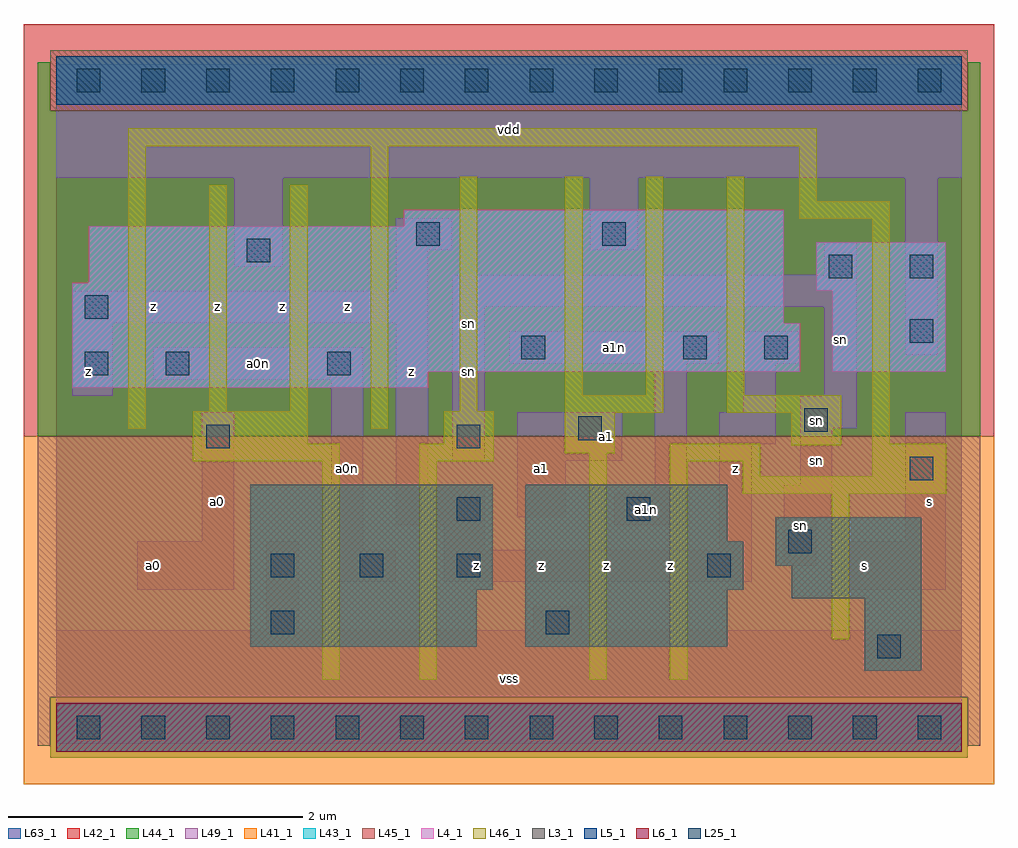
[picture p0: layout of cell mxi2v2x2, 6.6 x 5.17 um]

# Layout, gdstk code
import gdstk
lib = gdstk.Library(unit=1e-6, precision=1e-09)
def R(c, l, rs):  # rectangles x0, y0, x1, y1
    for r in rs: c.add(gdstk.rectangle(r[:2], r[2:], *l))
def A(c, l, x, y, w, h, nx, ny, dx, dy):  # array of equal rectangles
    R(c, l, [(x+i*dx, y+j*dy, x+i*dx+w, y+j*dy+h) for i in range(nx) for j in range(ny)])
L3_1 = (3, 1)
L4_1 = (4, 1)
L5_1 = (5, 1)
L6_1 = (6, 1)
L25_1 = (25, 1)
L41_1 = (41, 1)
L42_1 = (42, 1)
L43_1 = (43, 1)
L44_1 = (44, 1)
L45_1 = (45, 1)
L46_1 = (46, 1)
L49_1 = (49, 1)
L63_1 = (63, 1)

mxi2v2x2 = lib.new_cell('mxi2v2x2')
R(mxi2v2x2, L3_1, [(5.5,0.385,5.885,0.88), (1.32,0.55,2.86,0.935), (3.19,0.55,4.565,0.935), (5.005,0.88,5.885,1.1), (1.32,0.935,2.97,1.65), (3.19,0.935,4.675,1.265), (4.895,1.1,5.885,1.43), (3.19,1.265,4.565,1.65)])
R(mxi2v2x2, L4_1, [(0.11,2.31,2.53,2.42), (0.11,2.42,5.06,2.75), (5.28,2.42,6.05,2.97), (0.11,2.75,4.95,3.025), (5.17,2.97,6.05,3.3), (0.22,3.025,4.95,3.41), (2.365,3.41,4.95,3.52)])
R(mxi2v2x2, L5_1, [(0,4.235,6.16,4.565)])
R(mxi2v2x2, L6_1, [(0,-0.165,6.16,0.165)])
A(mxi2v2x2, L25_1, 0.14, -0.08, 0.16, 0.16, 14, 2, 0.44, 4.4)
R(mxi2v2x2, L25_1, [(5.585,0.47,5.745,0.63), (1.46,0.635,1.62,0.795), (3.33,0.635,3.49,0.795), (1.46,1.02,1.62,1.18), (2.065,1.02,2.225,1.18), (2.725,1.02,2.885,1.18), (4.43,1.02,4.59,1.18), (4.98,1.185,5.14,1.345), (2.725,1.405,2.885,1.565), (3.88,1.405,4.04,1.565), (5.805,1.68,5.965,1.84), (1.02,1.9,1.18,2.06), (2.725,1.9,2.885,2.06), (3.55,1.955,3.71,2.115), (5.09,2.01,5.25,2.17), (0.195,2.395,0.355,2.555), (0.745,2.395,0.905,2.555), (1.845,2.395,2.005,2.555), (3.165,2.505,3.325,2.665), (4.265,2.505,4.425,2.665), (4.815,2.505,4.975,2.665), (5.805,2.615,5.965,2.775), (0.195,2.78,0.355,2.94), (5.255,3.055,5.415,3.215), (5.805,3.055,5.965,3.215), (1.295,3.165,1.455,3.325), (2.45,3.275,2.61,3.435), (3.715,3.275,3.875,3.435)])
R(mxi2v2x2, L41_1, [(-0.22,-0.385,6.38,1.98)])
R(mxi2v2x2, L42_1, [(-0.22,1.98,6.38,4.785)])
R(mxi2v2x2, L43_1, [(0,-0.165,6.16,0.165), (5.5,0.385,5.885,0.88), (1.32,0.55,2.86,0.935), (3.19,0.55,4.565,0.935), (5.005,0.88,5.885,1.1), (1.32,0.935,2.97,1.65), (3.19,0.935,4.675,1.265), (4.895,1.1,5.885,1.43), (3.19,1.265,4.565,1.65), (0.11,2.31,2.53,2.42), (0.11,2.42,5.06,2.75), (5.28,2.42,6.05,2.97), (0.11,2.75,4.95,3.025), (5.17,2.97,6.05,3.3), (0.22,3.025,4.95,3.41), (2.365,3.41,4.95,3.52), (0,4.235,6.16,4.565)])
R(mxi2v2x2, L44_1, [(-0.04,-0.205,6.2,0.205), (-0.125,1.98,6.285,4.195), (-0.125,4.195,-0.04,4.525), (6.2,4.195,6.285,4.525)])
R(mxi2v2x2, L45_1, [(-0.125,-0.125,-0.04,0.205), (6.2,-0.125,6.285,0.205), (-0.125,0.205,6.285,1.98), (-0.04,4.195,6.2,4.605)])
A(mxi2v2x2, L46_1, 3.46, 2.26, 0.12, 1.485, 3, 1, 0.55, 0)
R(mxi2v2x2, L46_1, [(1.81,0.325,1.93,1.81), (2.47,0.325,2.59,1.81), (3.625,0.325,3.745,1.865), (4.175,0.325,4.295,1.81), (5.275,0.6,5.395,1.59), (4.67,1.59,6.055,1.71), (4.67,1.71,4.79,1.81), (5.55,1.71,6.055,1.93), (0.93,1.81,1.93,1.93), (2.47,1.81,2.975,1.93), (4.175,1.81,4.79,1.93), (3.46,1.865,3.8,2.14), (5,1.92,5.34,2.14), (0.93,1.93,1.71,2.15), (2.635,1.93,2.975,2.15), (5.55,1.93,5.67,3.46), (0.49,2.03,0.61,3.955), (2.14,2.03,2.26,3.955), (3.46,2.14,4.13,2.26), (4.56,2.14,5.34,2.26), (1.04,2.15,1.16,3.69), (1.59,2.15,1.71,3.69), (2.745,2.15,2.865,3.745), (5.055,3.46,5.67,3.58), (5.055,3.58,5.175,3.955), (0.49,3.955,5.175,4.075)])
R(mxi2v2x2, L49_1, [(0,-0.11,6.16,0.66), (1.43,0.66,1.65,1.265), (3.245,0.66,3.575,0.825), (0.55,0.935,1.21,1.265), (5.39,0.935,6.05,1.265), (1.87,0.99,2.31,1.21), (2.64,0.99,4.73,1.21), (4.95,1.1,5.17,1.43), (1.87,1.21,2.09,2.365), (2.64,1.21,2.915,1.375), (4.51,1.21,4.73,1.925), (0.99,1.265,1.21,2.145), (5.775,1.265,6.05,2.145), (2.31,1.375,2.915,1.65), (3.795,1.375,4.29,1.595), (3.135,1.43,3.465,1.815), (4.95,1.43,5.28,1.65), (4.07,1.595,4.29,2.475), (2.31,1.65,2.53,2.75), (5.06,1.65,5.28,2.035), (2.695,1.815,2.915,2.86), (3.135,1.815,3.85,2.145), (4.51,1.925,4.895,2.145), (5.06,2.035,5.445,2.255), (4.675,2.145,4.895,2.475), (0.11,2.255,0.385,2.75), (5.225,2.255,5.445,2.86), (0.66,2.365,2.09,2.585), (3.08,2.475,4.51,2.695), (4.675,2.475,5.06,2.695), (5.775,2.53,5.995,3.74), (0.11,2.75,2.53,2.97), (2.695,2.86,5.445,3.08), (2.31,2.97,2.53,3.245), (5.225,3.08,5.445,3.3), (1.21,3.135,1.54,3.74), (2.31,3.245,2.695,3.465), (3.63,3.245,3.96,3.74), (0,3.74,6.16,4.51)])
R(mxi2v2x2, L63_1, [(0,0,6.16,4.4)])
mxi2v2x2.add(gdstk.Label('sn', (2.805,2.75), layer=46, texttype=1))
mxi2v2x2.add(gdstk.Label('sn', (5.17,2.09), layer=49, texttype=1))
mxi2v2x2.add(gdstk.Label('a0', (0.66,1.1), layer=49, texttype=1))
mxi2v2x2.add(gdstk.Label('z', (0.22,2.42), layer=49, texttype=1))
mxi2v2x2.add(gdstk.Label('z', (0.66,2.86), layer=49, texttype=1))
mxi2v2x2.add(gdstk.Label('a0', (1.1,1.54), layer=49, texttype=1))
mxi2v2x2.add(gdstk.Label('a0n', (1.98,1.76), layer=49, texttype=1))
mxi2v2x2.add(gdstk.Label('a0n', (1.375,2.475), layer=49, texttype=1))
mxi2v2x2.add(gdstk.Label('z', (1.54,2.86), layer=49, texttype=1))
mxi2v2x2.add(gdstk.Label('z', (1.98,2.86), layer=49, texttype=1))
mxi2v2x2.add(gdstk.Label('z', (1.1,2.86), layer=49, texttype=1))
mxi2v2x2.add(gdstk.Label('vss', (3.08,0.33), layer=49, texttype=1))
mxi2v2x2.add(gdstk.Label('z', (3.3,1.1), layer=49, texttype=1))
mxi2v2x2.add(gdstk.Label('z', (2.86,1.1), layer=49, texttype=1))
mxi2v2x2.add(gdstk.Label('a1', (3.3,1.76), layer=49, texttype=1))
mxi2v2x2.add(gdstk.Label('z', (2.42,2.42), layer=49, texttype=1))
mxi2v2x2.add(gdstk.Label('sn', (2.805,2.42), layer=49, texttype=1))
mxi2v2x2.add(gdstk.Label('vdd', (3.08,4.07), layer=49, texttype=1))
mxi2v2x2.add(gdstk.Label('z', (3.74,1.1), layer=49, texttype=1))
mxi2v2x2.add(gdstk.Label('a1n', (4.015,1.485), layer=49, texttype=1))
mxi2v2x2.add(gdstk.Label('z', (4.18,1.1), layer=49, texttype=1))
mxi2v2x2.add(gdstk.Label('z', (4.62,1.76), layer=49, texttype=1))
mxi2v2x2.add(gdstk.Label('a1', (3.74,1.98), layer=49, texttype=1))
mxi2v2x2.add(gdstk.Label('a1n', (3.795,2.585), layer=49, texttype=1))
mxi2v2x2.add(gdstk.Label('sn', (5.06,1.375), layer=49, texttype=1))
mxi2v2x2.add(gdstk.Label('s', (5.94,1.54), layer=49, texttype=1))
mxi2v2x2.add(gdstk.Label('s', (5.5,1.1), layer=49, texttype=1))
mxi2v2x2.add(gdstk.Label('sn', (5.17,1.815), layer=49, texttype=1))
mxi2v2x2.add(gdstk.Label('sn', (5.335,2.64), layer=49, texttype=1))

lib.write_gds('mxi2v2x2.gds')
